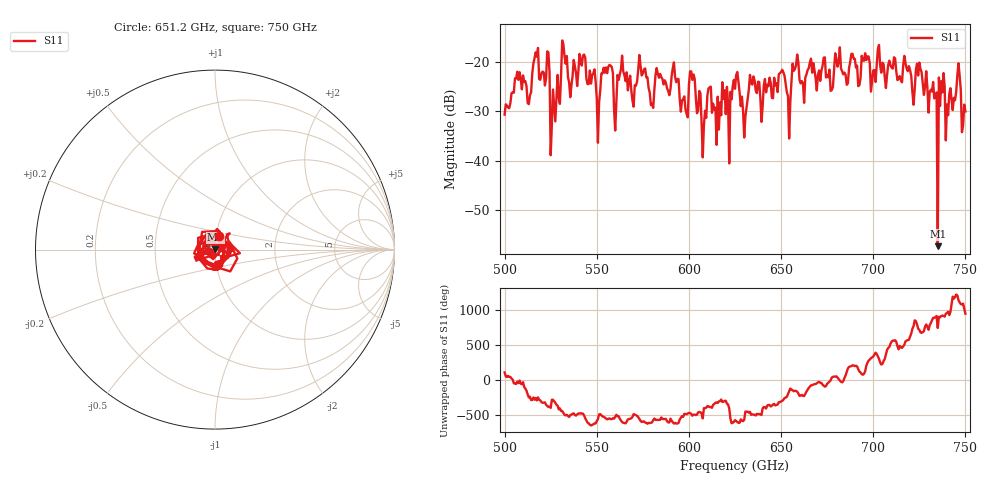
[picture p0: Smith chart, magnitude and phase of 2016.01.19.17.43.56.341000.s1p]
!Created with skrf (http://scikit-rf.org).
# GHz S RI R 50.0
!freq ReS11 ImS11
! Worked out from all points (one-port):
!   401 points, 500 GHz to 750 GHz, reference 50 ohm
!   lowest |S11| = -57.3 dB at 735 GHz (marker M1), VSWR 1.00, Z = 50.1 + j0.0642 ohm
!   |S11| at or under -10 dB: start of sweep to end of sweep
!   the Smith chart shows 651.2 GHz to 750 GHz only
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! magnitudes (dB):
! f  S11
! 500 GHz  -30.7
! 506.9 GHz  -22.0
! 513.1 GHz  -28.6
! 516.9 GHz  -18.1
! 523.1 GHz  -17.9
! 526.2 GHz  -25.6
! 531.2 GHz  -15.7
! 542.5 GHz  -18.7
! 550.6 GHz  -36.4
! 562.5 GHz  -22.6
! 593.8 GHz  -23.5
! 598.1 GHz  -29.6
! 601.9 GHz  -23.7
! 608.1 GHz  -32.9
! 610.6 GHz  -25.4
! 616.2 GHz  -33.7
! 625 GHz  -25.5
! 630.6 GHz  -31.1
! 634.4 GHz  -24.6
! 656.2 GHz  -20.4
! 687.5 GHz  -20.1
! 718.8 GHz  -21.9
! 733.1 GHz  -27.4
! 735 GHz  -57.3
! 736.9 GHz  -23.9
! 740.6 GHz  -30.8
! 746.2 GHz  -20.3
! 750 GHz  -30.0
